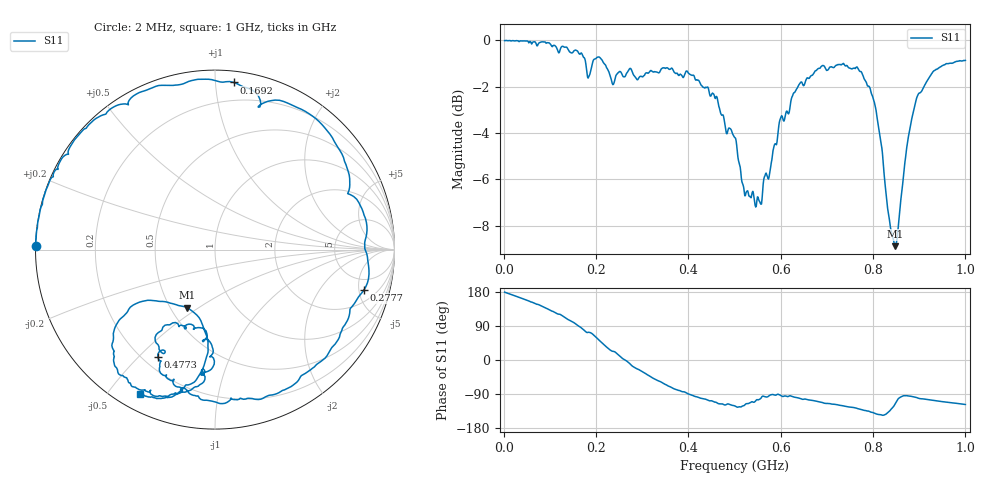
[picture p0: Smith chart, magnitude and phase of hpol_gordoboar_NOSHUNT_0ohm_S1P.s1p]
!Agilent N9923A: A.07.32
!Date: Sunday, 08 November 2020 05:58:03
!Model: N9923A
!Serial: MY52412229
!GPS Latitude:
!GPS Longitude:
!GPS TimeStamp: 0001-01-01 00:00:00Z
!GPS Seconds Since Last Read: 0
!CHECKSUM:1095542219
!Correction: S11(ON U)
!S1P File: Measurement: S11:
# Hz S DB R 50
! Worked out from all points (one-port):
!   801 points, 2 MHz to 1 GHz, reference 50 ohm
!   lowest |S11| = -8.9 dB at 847.8 MHz (marker M1), VSWR 2.12, Z = 30.1 - j22.4 ohm
!   |S11| at or under -10 dB: nowhere
!   S11 on the Smith chart (normalised r, x): 2 MHz: 0.00, +0.01; 169.2 MHz: 0.07, +1.12; 277.7 MHz: 3.28, -5.65; 477.3 MHz: 0.26, -0.57; 1 GHz: 0.07, -0.61
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2000000  -0.01 179.0
7.9345e7  -0.08 143.9
1.2675e8  -0.26 116.8
1.69165e8  -0.56 83.6
1.89125e8  -1.26 71.3
2.028475e8  -0.73 56.9
2.2156e8  -1.10 35.6
2.515e8  -1.34 10.1
2.776975e8  -1.31 -15.2
3.251025e8  -1.36 -49.0
3.513e8  -1.20 -65.1
3.7625e8  -1.42 -79.2
4.13675e8  -1.60 -96.1
4.772975e8  -3.39 -118.1
5.01e8  -4.20 -121.3
5.18465e8  -6.24 -120.9
5.546425e8  -6.97 -103.3
5.820875e8  -4.96 -91.0
6.2575e8  -2.39 -96.6
6.8563e8  -1.19 -110.9
7.505e8  -1.21 -124.3
8.0539e8  -2.90 -141.6
8.265975e8  -6.32 -143.8
8.47805e8  -8.88 -116.0
8.7525e8  -4.31 -94.7
8.9521e8  -2.44 -99.6
9.27645e8  -1.42 -105.9
1e9  -0.86 -117.4
